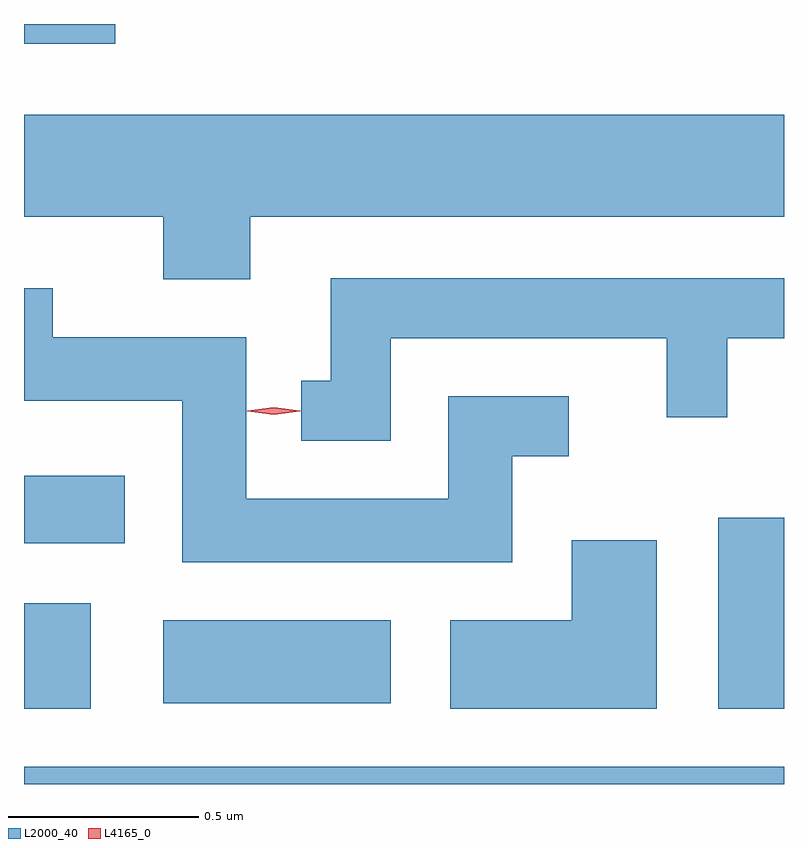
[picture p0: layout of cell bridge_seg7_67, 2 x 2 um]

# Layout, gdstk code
import gdstk
lib = gdstk.Library(unit=1e-6, precision=1e-09)
def R(c, l, rs):  # rectangles x0, y0, x1, y1
    for r in rs: c.add(gdstk.rectangle(r[:2], r[2:], *l))
def P(c, l, *ps):  # polygons
    for p in ps: c.add(gdstk.Polygon(p, *l))
L2000_40 = (2000, 40)
L4165_0 = (4165, 0)

bridge_seg7_67 = lib.new_cell('bridge_seg7_67')
R(bridge_seg7_67, L2000_40, [(1647.894,1761.663,1649.894,1761.709), (1647.894,1761.861,1648.069,1762.139), (1649.721,1761.861,1649.894,1762.364), (1648.261,1761.876,1648.859,1762.094), (1647.894,1762.296,1648.159,1762.474), (1647.894,1763.611,1648.134,1763.663)])
P(bridge_seg7_67, L2000_40, [(1648.489,1763.156),(1649.894,1763.156),(1649.894,1763.424),(1647.894,1763.424),(1647.894,1763.156),(1648.261,1763.156),(1648.261,1762.991),(1648.489,1762.991)],
  [(1648.859,1762.836),(1649.586,1762.836),(1649.586,1762.628),(1649.744,1762.628),(1649.744,1762.836),(1649.894,1762.836),(1649.894,1762.994),(1648.701,1762.994),(1648.701,1762.724),(1648.623,1762.724),(1648.623,1762.566),(1648.859,1762.566)],
  [(1649.179,1762.526),(1649.328,1762.526),(1649.328,1762.684),(1649.011,1762.684),(1649.011,1762.414),(1648.479,1762.414),(1648.479,1762.839),(1647.969,1762.839),(1647.969,1762.968),(1647.894,1762.968),(1647.894,1762.671),(1648.311,1762.671),(1648.311,1762.246),(1649.179,1762.246)],
  [(1649.559,1762.304),(1649.336,1762.304),(1649.336,1762.094),(1649.016,1762.094),(1649.016,1761.861),(1649.559,1761.861)])
P(bridge_seg7_67, L4165_0, [(1648.551,1762.635),(1648.482,1762.644),(1648.482,1762.644),(1648.482,1762.645),(1648.551,1762.654),(1648.621,1762.645),(1648.621,1762.645),(1648.621,1762.644)])

lib.write_gds('bridge_seg7_67.gds')
